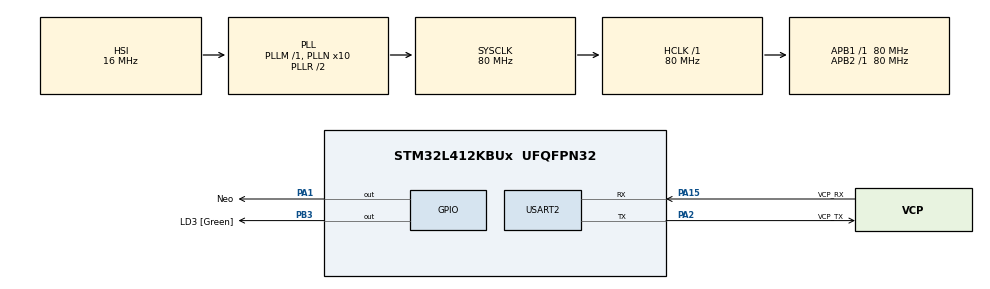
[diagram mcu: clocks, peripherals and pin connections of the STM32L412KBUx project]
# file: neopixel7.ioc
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Mcu.Family=STM32L4
PB3\ (JTDO/TRACESWO).GPIO_Label=LD3 [Green]
RCC.MSI_VALUE=32000000
RCC.PLLSourceVirtual=RCC_PLLSOURCE_HSI
RCC.CortexFreq_Value=80000000
PA13\ (JTMS/SWDIO).Mode=Serial_Wire
PA0-CK_IN.Mode=HSE-External-Clock-Source-for-LittleOrca
PC15-OSC32_OUT\ (PC15).Signal=RCC_OSC32_OUT
PA15\ (JTDI).Signal=USART2_RX
PC15-OSC32_OUT\ (PC15).Mode=LSE-External-Oscillator
RCC.SYSCLKSource=RCC_SYSCLKSOURCE_PLLCLK
ProjectManager.StackSize=0x400
PC14-OSC32_IN\ (PC14).Mode=LSE-External-Oscillator
PA15\ (JTDI).Mode=Asynchronous
PA14\ (JTCK/SWCLK).Signal=SYS_JTCK-SWCLK
PB3\ (JTDO/TRACESWO).Signal=GPIO_Output
ProjectManager.TargetToolchain=STM32CubeIDE
RCC.HCLKFreq_Value=80000000
RCC.FLatency=FLASH_LATENCY_4
RCC.APB2TimFreq_Value=80000000
RCC.HSICalibrationValue=16
RCC.USBFreq_Value=32000000
PA1.Signal=GPIO_Output
RCC.AHBFreq_Value=80000000
RCC.HSE_VALUE=8000000
board=NUCLEO-L412KB
USART2.VirtualMode-Asynchronous=VM_ASYNC
RCC.VCOOutputFreq_Value=160000000
PA0-CK_IN.Signal=RCC_CK_IN
PA13\ (JTMS/SWDIO).GPIO_Label=SWDIO
RCC.APB2Freq_Value=80000000
RCC.ADCFreq_Value=80000000
PA1.GPIO_Label=Neo
PA14\ (JTCK/SWCLK).Mode=Serial_Wire
PA15\ (JTDI).GPIO_Label=VCP_RX
Mcu.Name=STM32L412KBUx
PA2.Signal=USART2_TX
RCC.SYSCLKFreq_VALUE=80000000
Mcu.Package=UFQFPN32
PC14-OSC32_IN\ (PC14).Signal=RCC_OSC32_IN
PA2.GPIO_Label=VCP_TX
ProjectManager.HeapSize=0x200
RCC.HSI_VALUE=16000000
NVIC.PriorityGroup=NVIC_PRIORITYGROUP_4
PA14\ (JTCK/SWCLK).GPIO_Label=SWCLK
RCC.PLLN=10
RCC.APB1TimFreq_Value=80000000
PA2.Mode=Asynchronous
RCC.APB1Freq_Value=80000000
RCC.MSIClockRange=RCC_MSIRANGE_10
RCC.HSI48_VALUE=48000000
PA13\ (JTMS/SWDIO).Signal=SYS_JTMS-SWDIO

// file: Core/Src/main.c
/* USER CODE BEGIN Header */
/**
  ******************************************************************************
  * @file           : main.c
  * @brief          : Main program body
  ******************************************************************************
  * @attention
  *
  * <h2><center>&copy; Copyright (c) 2021 STMicroelectronics.
  * All rights reserved.</center></h2>
  *
  * This software component is licensed by ST under BSD 3-Clause license,
  * the "License"; You may not use this file except in compliance with the
  * License. You may obtain a copy of the License at:
  *                        opensource.org/licenses/BSD-3-Clause
  *
  ******************************************************************************
  */
/* USER CODE END Header */
#include "main.h"

UART_HandleTypeDef huart2;

void SystemClock_Config(void);
static void MX_GPIO_Init(void);
static void MX_USART2_UART_Init(void);
/* USER CODE BEGIN PFP */
void refreshLeds(uint32_t *t);
void shiftLeds(uint32_t *t);
void DMALeds_Init();
/* USER CODE END PFP */

/* USER CODE BEGIN 0 */
////////////////////////
// nombre de leds gerees
#define NBL 12
uint32_t t[NBL];
uint32_t rr[NBL*24*3];
#define DIon  0x00000002
#define DIoff 0x00020000
uint32_t ON = DIon ;
uint32_t OFF = DIoff;
uint16_t LOCK =0;
// la matrice de leds est connectee sur le GPIO PA1
/* USER CODE END 0 */

int main(void)
{
	t[0]= 0x00FF00;t[1]=0x00FF00;t[2]=0x00FF00;
	t[3]= 0xFF0000;t[4]=0xFF0000;t[5]=0xFF0000;
	t[6]= 0x0000FF;t[7]=0x0000FF;t[8]=0x0000FF;
	t[9]= 0xFFFFFF;t[10]=0xFFFFFF;t[11]=0xFFFFFF;
  /* MCU Configuration--------------------------------------------------------*/

  /* Reset of all peripherals, Initializes the Flash interface and the Systick. */
  HAL_Init();

  /* Configure the system clock */
  SystemClock_Config();

  /* Initialize all configured peripherals */
  MX_GPIO_Init();
  MX_USART2_UART_Init();

  /* Infinite loop */
  while (1)
  {

    /* USER CODE BEGIN 3 */
	  refreshLeds(t);
	  shiftLeds(t);
	  HAL_Delay(300);
  }
  /* USER CODE END 3 */
}

void SystemClock_Config(void)
{
  RCC_OscInitTypeDef RCC_OscInitStruct = {0};
  RCC_ClkInitTypeDef RCC_ClkInitStruct = {0};
  RCC_PeriphCLKInitTypeDef PeriphClkInit = {0};

  /** Configure the main internal regulator output voltage
  */
  if (HAL_PWREx_ControlVoltageScaling(PWR_REGULATOR_VOLTAGE_SCALE1) != HAL_OK)
  {
    Error_Handler();
  }
  /** Initializes the RCC Oscillators according to the specified parameters
  * in the RCC_OscInitTypeDef structure.
  */
  RCC_OscInitStruct.OscillatorType = RCC_OSCILLATORTYPE_HSI;
  RCC_OscInitStruct.HSIState = RCC_HSI_ON;
  RCC_OscInitStruct.HSICalibrationValue = 16;
  RCC_OscInitStruct.PLL.PLLState = RCC_PLL_ON;
  RCC_OscInitStruct.PLL.PLLSource = RCC_PLLSOURCE_HSI;
  RCC_OscInitStruct.PLL.PLLM = 1;
  RCC_OscInitStruct.PLL.PLLN = 10;
  RCC_OscInitStruct.PLL.PLLQ = RCC_PLLQ_DIV2;
  RCC_OscInitStruct.PLL.PLLR = RCC_PLLR_DIV2;
  if (HAL_RCC_OscConfig(&RCC_OscInitStruct) != HAL_OK)
  {
    Error_Handler();
  }
  /** Initializes the CPU, AHB and APB buses clocks
  */
  RCC_ClkInitStruct.ClockType = RCC_CLOCKTYPE_HCLK|RCC_CLOCKTYPE_SYSCLK
                              |RCC_CLOCKTYPE_PCLK1|RCC_CLOCKTYPE_PCLK2;
  RCC_ClkInitStruct.SYSCLKSource = RCC_SYSCLKSOURCE_PLLCLK;
  RCC_ClkInitStruct.AHBCLKDivider = RCC_SYSCLK_DIV1;
  RCC_ClkInitStruct.APB1CLKDivider = RCC_HCLK_DIV1;
  RCC_ClkInitStruct.APB2CLKDivider = RCC_HCLK_DIV1;

  if (HAL_RCC_ClockConfig(&RCC_ClkInitStruct, FLASH_LATENCY_4) != HAL_OK)
  {
    Error_Handler();
  }
  PeriphClkInit.PeriphClockSelection = RCC_PERIPHCLK_USART2;
  PeriphClkInit.Usart2ClockSelection = RCC_USART2CLKSOURCE_PCLK1;
  if (HAL_RCCEx_PeriphCLKConfig(&PeriphClkInit) != HAL_OK)
  {
    Error_Handler();
  }
}

static void MX_USART2_UART_Init(void)
{

  huart2.Instance = USART2;
  huart2.Init.BaudRate = 115200;
  huart2.Init.WordLength = UART_WORDLENGTH_8B;
  huart2.Init.StopBits = UART_STOPBITS_1;
  huart2.Init.Parity = UART_PARITY_NONE;
  huart2.Init.Mode = UART_MODE_TX_RX;
  huart2.Init.HwFlowCtl = UART_HWCONTROL_NONE;
  huart2.Init.OverSampling = UART_OVERSAMPLING_16;
  huart2.Init.OneBitSampling = UART_ONE_BIT_SAMPLE_DISABLE;
  huart2.AdvancedInit.AdvFeatureInit = UART_ADVFEATURE_NO_INIT;
  if (HAL_UART_Init(&huart2) != HAL_OK)
  {
    Error_Handler();
  }

}

static void MX_GPIO_Init(void)
{
  GPIO_InitTypeDef GPIO_InitStruct = {0};

  /* GPIO Ports Clock Enable */
  __HAL_RCC_GPIOC_CLK_ENABLE();
  __HAL_RCC_GPIOA_CLK_ENABLE();
  __HAL_RCC_GPIOB_CLK_ENABLE();

  /*Configure GPIO pin Output Level */
  HAL_GPIO_WritePin(Neo_GPIO_Port, Neo_Pin, GPIO_PIN_RESET);

  /*Configure GPIO pin Output Level */
  HAL_GPIO_WritePin(LD3_GPIO_Port, LD3_Pin, GPIO_PIN_RESET);

  /*Configure GPIO pin : Neo_Pin */
  GPIO_InitStruct.Pin = Neo_Pin;
  GPIO_InitStruct.Mode = GPIO_MODE_OUTPUT_PP;
  GPIO_InitStruct.Pull = GPIO_NOPULL;
  GPIO_InitStruct.Speed = GPIO_SPEED_FREQ_LOW;
  HAL_GPIO_Init(Neo_GPIO_Port, &GPIO_InitStruct);

  /*Configure GPIO pin : LD3_Pin */
  GPIO_InitStruct.Pin = LD3_Pin;
  GPIO_InitStruct.Mode = GPIO_MODE_OUTPUT_PP;
  GPIO_InitStruct.Pull = GPIO_NOPULL;
  GPIO_InitStruct.Speed = GPIO_SPEED_FREQ_LOW;
  HAL_GPIO_Init(LD3_GPIO_Port, &GPIO_InitStruct);

}

/* USER CODE BEGIN 4 */
void shiftLeds(uint32_t *t)
{
	uint32_t rr;
	int i;
	rr=t[0];
	for(i=0;i<(NBL-1);i++)t[i]=t[i+1];
	t[11]=rr;
}
// initialisation timer 1 et DMA1 pour les échanges DMA avec les neopixels (GPIO PA1)
void DMALeds_Init()
{
	RCC->AHB1ENR |= 1;                // DMA1 clock validee
	RCC->APB2ENR |= (1ul<<11);       // TIM1 clock validee
	//////////////////////////////////////////////////////////
	//init TIM1
	//////////////////////////////////////////////////////////
	TIM1->PSC   = 0;                   // (prescale =1   => tick = 12.5ns)
	TIM1->CR1   = 0;
	TIM1->CR2   = 0;
	TIM1->DIER  = 0x4E00;              //dma request + CC1
	TIM1->ARR   = 32;                  // T=400ns
	TIM1->CCR1  = 32;                  // CC1 à T=1248ns
	TIM1->CCMR1 = 0x0000;
	TIM1->EGR   = 0x004C;

	//////////////////////////////////////////////////////////////////////////////
	// init DMA
	//////////////////////////////////////////////////////////////////////////////
	NVIC_EnableIRQ(DMA1_Channel2_IRQn);

	// init dma ch2 CC1
	DMA1_Channel2->CCR = 0;                            //arret DMA ch2
	DMA1_Channel2->CNDTR = NBL*72;                     //longueur échange
	DMA1_Channel2->CPAR = (uint32_t)&(GPIOA->BSRR);    //adresse peripherique
	DMA1_Channel2->CMAR = (uint32_t)rr;                //adresse memoire

	//taille 32b (PSIZE et MSIZE), priorite very high , incrementation mémoire, dir memoire-> periph, IT fin d'échange
	DMA1_Channel2->CCR = 0x3A92;
	DMA1_CSELR->CSELR |= 0x00000070;   //triggered by  TIM1_ch1
}

//////////////////////////////////////////////
// affichage des NBL leds (WS2812B)
//
// tt => tableau de NBL elements (uint32_t)
// chaque element contient sur 24 bits (3x8) la couleur (GRB) d'une led
//
/////////////////////////////////////
void refreshLeds(uint32_t *tt)
{
	uint32_t t,m;
	int i,j,l;
	if(LOCK != 0) return;
	LOCK = 1;
	i=0;

	//mise en forme du tableau des etats du signal (1 point/400ns) (prets pour chargt dans GPIOx->BSRR)
	for(l=0;l<NBL;l++)
	{
		t=tt[l]<<8;
		for(j=0;j<24;j++)
		{
			rr[i++] = DIon;
			m=t & 0x80000000;
			t = t<<1;
			if(m==0) rr[i++] = DIoff;else rr[i++] = DIon;
			rr[i++] = DIoff;
		}
	}

	DMALeds_Init();

	DMA1_Channel2->CCR |= 1;               //demarrage DMA Ch2

	HAL_Delay(1);
	TIM1->CR1 = 1;         //demarrage TIM1

}
void DMA1_Channel2_IRQHandler(void)
{
	TIM1->CR1 = 0;                                          //arret TIM1
    DMA1->IFCR = 0xF0FF0;                                  	//reset flags IT ch2 ch3 ch5
	LOCK = 0;

}
/* USER CODE END 4 */

void Error_Handler(void)
{
  __disable_irq();
  while (1)
  {
  }
}

/************************ (C) COPYRIGHT STMicroelectronics *****END OF FILE****/
